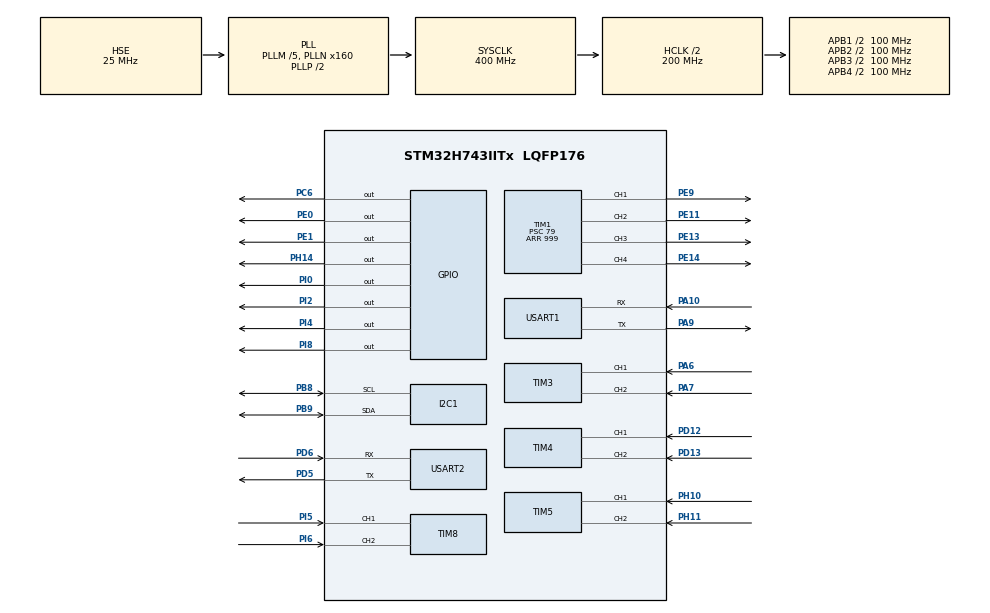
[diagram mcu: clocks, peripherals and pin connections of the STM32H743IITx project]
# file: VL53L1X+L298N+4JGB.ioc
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CORTEX_M7.default_mode_Activation=1
I2C1.Timing=0x10C0ECFF
Mcu.Family=STM32H7
Mcu.Name=STM32H743IITx
Mcu.Package=LQFP176
NVIC.PriorityGroup=NVIC_PRIORITYGROUP_4
NVIC.USART2_IRQn=true\:5\:0\:true\:false\:true\:true\:true\:true
PA0.Signal=S_TIM2_CH1_ETR
PA10.Mode=Asynchronous
PA10.Signal=USART1_RX
PA6.Signal=S_TIM3_CH1
PA7.Signal=S_TIM3_CH2
PA9.Mode=Asynchronous
PA9.Signal=USART1_TX
PB8.Mode=I2C
PB8.Signal=I2C1_SCL
PB9.Mode=I2C
PB9.Signal=I2C1_SDA
PC6.Signal=GPIO_Output
PD12.Signal=S_TIM4_CH1
PD13.Signal=S_TIM4_CH2
PD5.Mode=Asynchronous
PD5.Signal=USART2_TX
PD6.Mode=Asynchronous
PD6.Signal=USART2_RX
PE0.Signal=GPIO_Output
PE1.Signal=GPIO_Output
PE11.Signal=S_TIM1_CH2
PE13.Signal=S_TIM1_CH3
PE14.Signal=S_TIM1_CH4
PE9.Signal=S_TIM1_CH1
PH0-OSC_IN\ (PH0).Mode=HSE-External-Oscillator
PH0-OSC_IN\ (PH0).Signal=RCC_OSC_IN
PH1-OSC_OUT\ (PH1).Mode=HSE-External-Oscillator
PH1-OSC_OUT\ (PH1).Signal=RCC_OSC_OUT
PH10.Signal=S_TIM5_CH1
PH11.Signal=S_TIM5_CH2
PH14.Signal=GPIO_Output
PI0.Signal=GPIO_Output
PI2.Signal=GPIO_Output
PI4.Signal=GPIO_Output
PI5.Signal=S_TIM8_CH1
PI6.Signal=S_TIM8_CH2
PI8.Signal=GPIO_Output
ProjectManager.HeapSize=0x200
ProjectManager.StackSize=0x400
ProjectManager.TargetToolchain=MDK-ARM V5.32
RCC.ADCFreq_Value=50390625
RCC.APB1Freq_Value=100000000
RCC.APB2Freq_Value=100000000
RCC.APB3Freq_Value=100000000
RCC.APB4Freq_Value=100000000
RCC.CortexFreq_Value=400000000
RCC.D1PPRE=RCC_APB3_DIV2
RCC.D2PPRE1=RCC_APB1_DIV2
RCC.D2PPRE2=RCC_APB2_DIV2
RCC.D3PPRE=RCC_APB4_DIV2
RCC.DIVM1=5
RCC.DIVN1=160
RCC.HCLKFreq_Value=200000000
RCC.HPRE=RCC_HCLK_DIV2
RCC.PLLSourceVirtual=RCC_PLLSOURCE_HSE
RCC.SYSCLKFreq_VALUE=400000000
RCC.SYSCLKSource=RCC_SYSCLKSOURCE_PLLCLK
RCC.USBFreq_Value=400000000
SH.S_TIM1_CH1.0=TIM1_CH1,PWM Generation1 CH1
SH.S_TIM1_CH2.0=TIM1_CH2,PWM Generation2 CH2
SH.S_TIM1_CH3.0=TIM1_CH3,PWM Generation3 CH3
SH.S_TIM1_CH4.0=TIM1_CH4,PWM Generation4 CH4
SH.S_TIM2_CH1_ETR.0=TIM2_CH1
SH.S_TIM3_CH1.0=TIM3_CH1,Encoder_Interface
SH.S_TIM3_CH2.0=TIM3_CH2,Encoder_Interface
SH.S_TIM4_CH1.0=TIM4_CH1,Encoder_Interface
SH.S_TIM4_CH2.0=TIM4_CH2,Encoder_Interface
SH.S_TIM5_CH1.0=TIM5_CH1,Encoder_Interface
SH.S_TIM5_CH2.0=TIM5_CH2,Encoder_Interface
SH.S_TIM8_CH1.0=TIM8_CH1,Encoder_Interface
SH.S_TIM8_CH2.0=TIM8_CH2,Encoder_Interface
TIM1.Channel-PWM\ Generation1\ CH1=TIM_CHANNEL_1
TIM1.Channel-PWM\ Generation2\ CH2=TIM_CHANNEL_2
TIM1.Channel-PWM\ Generation3\ CH3=TIM_CHANNEL_3
TIM1.Channel-PWM\ Generation4\ CH4=TIM_CHANNEL_4
TIM1.Period=999
TIM1.Prescaler=79
TIM3.EncoderMode=TIM_ENCODERMODE_TI12
TIM4.EncoderMode=TIM_ENCODERMODE_TI12
TIM5.EncoderMode=TIM_ENCODERMODE_TI12
TIM8.EncoderMode=TIM_ENCODERMODE_TI12
USART1.VirtualMode-Asynchronous=VM_ASYNC
USART2.VirtualMode-Asynchronous=VM_ASYNC
board=custom

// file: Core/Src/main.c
/* USER CODE BEGIN Header */
/**
  ******************************************************************************
  * @file           : main.c
  * @brief          : Four-wheel PI speed control test for STM32H743
  ******************************************************************************
  * @attention
  * Copyright (c) 2025 STMicroelectronics.
  * All rights reserved.
  * This software is licensed under terms that can be found in the LICENSE file
  * in the root directory of this software component.
  * If no LICENSE file comes with this software, it is provided AS-IS.
  ******************************************************************************
  */
/* USER CODE END Header */
/* Includes */
#include "main.h"

/* USER CODE BEGIN Includes */
#include "vl53l1_platform.h"
#include "VL53L1X_api.h"
#include <stdio.h>
#include <string.h>
#include <math.h>

/* Reserved search parameters */
#define VL53L1X_DEV_ADDR  0x52 << 1

#define STATE_SEARCH        0
#define STATE_CENTERING     1
#define STATE_APPROACH      2
#define STATE_LASER_GUIDED  3
#define STATE_SUCCESS       4

#define CENTER_THRESHOLD   20
#define LASER_TARGET_MM    200
#define LASER_MIN_MM       150
#define LASER_START_MM     500
#define FORWARD_SPEED      700
#define TURN_SPEED         600
#define SLOW_SPEED         400
#define CENTER_TIMEOUT     5000
#define APPROACH_TIMEOUT   10000
#define MOTOR_PWM_60       600

/* Reserved vision data */
typedef struct {
    uint32_t timestamp;
    uint8_t presence;
    float dx, dy;
    float radius;
    uint8_t approach_flag;
} VisionData;
/* USER CODE END Includes */

/* USER CODE BEGIN PTD */
/* PID controller */
typedef struct {
    float Kp;
    float Ki;
    float Kd;
    float error_sum;
    float last_error;
    float max_out;
    float integral_limit;
} PID_Controller;
/* USER CODE END PTD */

/* Peripheral handles */
I2C_HandleTypeDef hi2c1;

TIM_HandleTypeDef htim1;
TIM_HandleTypeDef htim3;
TIM_HandleTypeDef htim4;
TIM_HandleTypeDef htim5;
TIM_HandleTypeDef htim8;

UART_HandleTypeDef huart1;
UART_HandleTypeDef huart2;

/* USER CODE BEGIN PV */
/* Reserved vision and state variables */
VisionData currentVision = {0};
uint16_t distance_mm = 0;
uint8_t dataReady = 0;
char uartBuf[128];

uint8_t state = STATE_SEARCH;
uint32_t last_state_change = 0;
uint32_t last_print_time = 0;
uint32_t last_vision_print = 0;
uint32_t last_distance_print = 0;

uint8_t debug_enabled = 1;
uint8_t position_success_received = 0;

/* Reserved binary packet */
#pragma pack(push, 1)
typedef struct {
    uint8_t  header1;
    uint8_t  header2;
    uint8_t  presence;
    int16_t  dx;
    int16_t  dy;
    uint16_t radius;
    uint8_t  checksum;
} VisionPacket;
#pragma pack(pop)

uint8_t rxByte;
uint8_t rxBuffer[10];
uint8_t rxIndex = 0;

VisionPacket current_vision_data = {0};
uint32_t last_vision_update_time = 0;
/* USER CODE END PV */

/* Function declarations */
void SystemClock_Config(void);
static void MPU_Config(void);
static void MX_GPIO_Init(void);
static void MX_I2C1_Init(void);
static void MX_TIM1_Init(void);
static void MX_TIM3_Init(void);
static void MX_TIM4_Init(void);
static void MX_TIM5_Init(void);
static void MX_USART1_UART_Init(void);
static void MX_USART2_UART_Init(void);
static void MX_TIM8_Init(void);

/* USER CODE BEGIN PFP */
void motor_stop(void);
float PID_Calc(PID_Controller *pid, float target, float measure);
void set_chassis_motion(int16_t base_speed, float turn_comp);
void update_state_machine(void);
void print_debug_info(void);
void parseVisionData(uint8_t *data);
/* USER CODE END PFP */

/* USER CODE BEGIN 0 */

/* PWM stop */
void motor_stop(void) {
    __HAL_TIM_SET_COMPARE(&htim1, TIM_CHANNEL_1, 0);
    __HAL_TIM_SET_COMPARE(&htim1, TIM_CHANNEL_2, 0);
    __HAL_TIM_SET_COMPARE(&htim1, TIM_CHANNEL_3, 0);
    __HAL_TIM_SET_COMPARE(&htim1, TIM_CHANNEL_4, 0);
}

/* Reserved yaw controller */
PID_Controller turn_pid = {
    .Kp = 2.5f,
    .Ki = 0.0f,
    .Kd = 1.2f,
    .error_sum = 0.0f,
    .last_error = 0.0f,
    .max_out = 400.0f,
    .integral_limit = 100.0f
};

/* Wheel speed PI parameters */
PID_Controller pid_a = {1.5f, 0.2f, 0.0f, 0.0f, 0.0f, 999.0f, 2000.0f};

PID_Controller pid_b = {1.5f, 0.2f, 0.0f, 0.0f, 0.0f, 999.0f, 2000.0f};

PID_Controller pid_c = {1.8f, 0.3f, 0.0f, 0.0f, 0.0f, 999.0f, 2500.0f};

PID_Controller pid_d = {1.5f, 0.2f, 0.0f, 0.0f, 0.0f, 999.0f, 2000.0f};

/* PID calculation */
float PID_Calc(PID_Controller *pid, float target, float measure) {
    float error = target - measure;
    float p_out, i_out, d_out, total_out;

    p_out = pid->Kp * error;

    pid->error_sum += error;
    if (pid->error_sum > pid->integral_limit) pid->error_sum = pid->integral_limit;
    if (pid->error_sum < -pid->integral_limit) pid->error_sum = -pid->integral_limit;
    i_out = pid->Ki * pid->error_sum;

    d_out = pid->Kd * (error - pid->last_error);
    pid->last_error = error;

    total_out = p_out + i_out + d_out;

    /* PWM deadband compensation */
    float deadband = 600.0f;

    if (target > 0.5f) {
        if (total_out > 0.0f) {
            total_out += deadband;
        }
    } else if (target < -0.5f) {
         if (total_out < 0.0f) {
            total_out -= deadband;
         }
    }

    if (total_out > pid->max_out) total_out = pid->max_out;
    if (total_out < -pid->max_out) total_out = -pid->max_out;

    return total_out;
}

/* Legacy differential PWM control */
void set_chassis_motion(int16_t base_speed, float turn_comp) {
    int16_t pwm_left = base_speed + (int16_t)turn_comp;
    int16_t pwm_right = base_speed - (int16_t)turn_comp;

    if (pwm_left > 999) pwm_left = 999;
    if (pwm_left < -999) pwm_left = -999;
    if (pwm_right > 999) pwm_right = 999;
    if (pwm_right < -999) pwm_right = -999;

    if (pwm_left >= 0) {
        HAL_GPIO_WritePin(GPIOH, GPIO_PIN_14, GPIO_PIN_RESET);
        HAL_GPIO_WritePin(GPIOI, GPIO_PIN_0, GPIO_PIN_SET);
        HAL_GPIO_WritePin(GPIOI, GPIO_PIN_8, GPIO_PIN_RESET);
        HAL_GPIO_WritePin(GPIOC, GPIO_PIN_6, GPIO_PIN_SET);
        __HAL_TIM_SET_COMPARE(&htim1, TIM_CHANNEL_1, pwm_left);
        __HAL_TIM_SET_COMPARE(&htim1, TIM_CHANNEL_4, pwm_left);
    } else {
        HAL_GPIO_WritePin(GPIOH, GPIO_PIN_14, GPIO_PIN_SET);
        HAL_GPIO_WritePin(GPIOI, GPIO_PIN_0, GPIO_PIN_RESET);
        HAL_GPIO_WritePin(GPIOI, GPIO_PIN_8, GPIO_PIN_SET);
        HAL_GPIO_WritePin(GPIOC, GPIO_PIN_6, GPIO_PIN_RESET);
        __HAL_TIM_SET_COMPARE(&htim1, TIM_CHANNEL_1, -pwm_left);
        __HAL_TIM_SET_COMPARE(&htim1, TIM_CHANNEL_4, -pwm_left);
    }

    if (pwm_right >= 0) {
        HAL_GPIO_WritePin(GPIOI, GPIO_PIN_2, GPIO_PIN_RESET);
        HAL_GPIO_WritePin(GPIOI, GPIO_PIN_4, GPIO_PIN_SET);
        HAL_GPIO_WritePin(GPIOE, GPIO_PIN_1, GPIO_PIN_RESET);
        HAL_GPIO_WritePin(GPIOE, GPIO_PIN_0, GPIO_PIN_SET);
        __HAL_TIM_SET_COMPARE(&htim1, TIM_CHANNEL_2, pwm_right);
        __HAL_TIM_SET_COMPARE(&htim1, TIM_CHANNEL_3, pwm_right);
    } else {
        HAL_GPIO_WritePin(GPIOI, GPIO_PIN_2, GPIO_PIN_SET);
        HAL_GPIO_WritePin(GPIOI, GPIO_PIN_4, GPIO_PIN_RESET);
        HAL_GPIO_WritePin(GPIOE, GPIO_PIN_1, GPIO_PIN_SET);
        HAL_GPIO_WritePin(GPIOE, GPIO_PIN_0, GPIO_PIN_RESET);
        __HAL_TIM_SET_COMPARE(&htim1, TIM_CHANNEL_2, -pwm_right);
        __HAL_TIM_SET_COMPARE(&htim1, TIM_CHANNEL_3, -pwm_right);
    }
}

/* Independent wheel PWM control */
void set_4wheel_pwm(int16_t pwm_a, int16_t pwm_b, int16_t pwm_c, int16_t pwm_d) {
    if (pwm_a > 999) pwm_a = 999; if (pwm_a < -999) pwm_a = -999;
    if (pwm_b > 999) pwm_b = 999; if (pwm_b < -999) pwm_b = -999;
    if (pwm_c > 999) pwm_c = 999; if (pwm_c < -999) pwm_c = -999;
    if (pwm_d > 999) pwm_d = 999; if (pwm_d < -999) pwm_d = -999;

    if (pwm_a >= 0) {
        HAL_GPIO_WritePin(GPIOH, GPIO_PIN_14, GPIO_PIN_RESET);
        HAL_GPIO_WritePin(GPIOI, GPIO_PIN_0, GPIO_PIN_SET);
        __HAL_TIM_SET_COMPARE(&htim1, TIM_CHANNEL_1, pwm_a);
    } else {
        HAL_GPIO_WritePin(GPIOH, GPIO_PIN_14, GPIO_PIN_SET);
        HAL_GPIO_WritePin(GPIOI, GPIO_PIN_0, GPIO_PIN_RESET);
        __HAL_TIM_SET_COMPARE(&htim1, TIM_CHANNEL_1, -pwm_a);
    }

    if (pwm_b >= 0) {
        HAL_GPIO_WritePin(GPIOI, GPIO_PIN_2, GPIO_PIN_RESET);
        HAL_GPIO_WritePin(GPIOI, GPIO_PIN_4, GPIO_PIN_SET);
        __HAL_TIM_SET_COMPARE(&htim1, TIM_CHANNEL_2, pwm_b);
    } else {
        HAL_GPIO_WritePin(GPIOI, GPIO_PIN_2, GPIO_PIN_SET);
        HAL_GPIO_WritePin(GPIOI, GPIO_PIN_4, GPIO_PIN_RESET);
        __HAL_TIM_SET_COMPARE(&htim1, TIM_CHANNEL_2, -pwm_b);
    }

    if (pwm_c >= 0) {
        HAL_GPIO_WritePin(GPIOI, GPIO_PIN_8, GPIO_PIN_RESET);
        HAL_GPIO_WritePin(GPIOC, GPIO_PIN_6, GPIO_PIN_SET);
        __HAL_TIM_SET_COMPARE(&htim1, TIM_CHANNEL_4, pwm_c);
    } else {
        HAL_GPIO_WritePin(GPIOI, GPIO_PIN_8, GPIO_PIN_SET);
        HAL_GPIO_WritePin(GPIOC, GPIO_PIN_6, GPIO_PIN_RESET);
        __HAL_TIM_SET_COMPARE(&htim1, TIM_CHANNEL_4, -pwm_c);
    }

    if (pwm_d >= 0) {
        HAL_GPIO_WritePin(GPIOE, GPIO_PIN_1, GPIO_PIN_RESET);
        HAL_GPIO_WritePin(GPIOE, GPIO_PIN_0, GPIO_PIN_SET);
        __HAL_TIM_SET_COMPARE(&htim1, TIM_CHANNEL_3, pwm_d);
    } else {
        HAL_GPIO_WritePin(GPIOE, GPIO_PIN_1, GPIO_PIN_SET);
        HAL_GPIO_WritePin(GPIOE, GPIO_PIN_0, GPIO_PIN_RESET);
        __HAL_TIM_SET_COMPARE(&htim1, TIM_CHANNEL_3, -pwm_d);
    }
}
/* USER CODE END 0 */

/* Main */
int main(void)
{

  MPU_Config();

  HAL_Init();

  SystemClock_Config();

  /* Peripheral initialization */
  MX_GPIO_Init();
  MX_I2C1_Init();
  MX_TIM1_Init();
  MX_TIM3_Init();
  MX_TIM4_Init();
  MX_TIM5_Init();
  MX_USART1_UART_Init();
  MX_USART2_UART_Init();
  MX_TIM8_Init();

  /* USER CODE BEGIN 2 */
  HAL_UART_Transmit(&huart1, (uint8_t*)"System Initialized\r\n", 20, 100);

  HAL_UART_Receive_IT(&huart2, &rxByte, 1);

  /* PWM and encoder startup */
  HAL_TIM_PWM_Start(&htim1, TIM_CHANNEL_1);
  HAL_TIM_PWM_Start(&htim1, TIM_CHANNEL_2);
  HAL_TIM_PWM_Start(&htim1, TIM_CHANNEL_3);
  HAL_TIM_PWM_Start(&htim1, TIM_CHANNEL_4);

  HAL_TIM_Encoder_Start(&htim8, TIM_CHANNEL_ALL);
  HAL_TIM_Encoder_Start(&htim3, TIM_CHANNEL_ALL);
  HAL_TIM_Encoder_Start(&htim4, TIM_CHANNEL_ALL);
  HAL_TIM_Encoder_Start(&htim5, TIM_CHANNEL_ALL);

  state = STATE_SEARCH;
  last_state_change = HAL_GetTick();

  HAL_UART_Transmit(&huart1, (uint8_t*)"Starting tennis ball collection...\r\n", 36, 100);
  /* USER CODE END 2 */

  /* USER CODE BEGIN WHILE */
  while (1)
  {
        HAL_Delay(100);

        /* Encoder sampling */
        int16_t speed5 = (int16_t)__HAL_TIM_GET_COUNTER(&htim5);
        int16_t speed4 = (int16_t)__HAL_TIM_GET_COUNTER(&htim4);
        int16_t speed8 = (int16_t)__HAL_TIM_GET_COUNTER(&htim8);
        int16_t speed3 = (int16_t)__HAL_TIM_GET_COUNTER(&htim3);

        __HAL_TIM_SET_COUNTER(&htim5, 0);
        __HAL_TIM_SET_COUNTER(&htim4, 0);
        __HAL_TIM_SET_COUNTER(&htim8, 0);
        __HAL_TIM_SET_COUNTER(&htim3, 0);

        /* Encoder direction correction */
        float actual_speed_a = - (float)speed5;
        float actual_speed_b =   (float)speed4;
        float actual_speed_c =   (float)speed8;
        float actual_speed_d = - (float)speed3;

        /* Wheel speed control */
        float target_speed = 170.0f;

        int16_t pwm_a = (int16_t)PID_Calc(&pid_a, target_speed, actual_speed_a);
        int16_t pwm_b = (int16_t)PID_Calc(&pid_b, target_speed, actual_speed_b);
        int16_t pwm_c = (int16_t)PID_Calc(&pid_c, target_speed, actual_speed_c);
        int16_t pwm_d = (int16_t)PID_Calc(&pid_d, target_speed, actual_speed_d);

        set_4wheel_pwm(pwm_a, pwm_b, pwm_c, pwm_d);

        /* VOFA+ telemetry */
        char vofaBuf[128];
        int len = snprintf(vofaBuf, sizeof(vofaBuf),
                           "%.1f,%.1f,%.1f,%.1f,%.1f\n",
                           target_speed, actual_speed_a, actual_speed_b, actual_speed_c, actual_speed_d);
        HAL_UART_Transmit(&huart1, (uint8_t*)vofaBuf, len, 100);

    /* USER CODE END WHILE */

  }
}

/* Peripheral configuration */
void SystemClock_Config(void)
{
  RCC_OscInitTypeDef RCC_OscInitStruct = {0};
  RCC_ClkInitTypeDef RCC_ClkInitStruct = {0};

  HAL_PWREx_ConfigSupply(PWR_LDO_SUPPLY);

  __HAL_PWR_VOLTAGESCALING_CONFIG(PWR_REGULATOR_VOLTAGE_SCALE1);

  while(!__HAL_PWR_GET_FLAG(PWR_FLAG_VOSRDY)) {}

  RCC_OscInitStruct.OscillatorType = RCC_OSCILLATORTYPE_HSE;
  RCC_OscInitStruct.HSEState = RCC_HSE_ON;
  RCC_OscInitStruct.PLL.PLLState = RCC_PLL_ON;
  RCC_OscInitStruct.PLL.PLLSource = RCC_PLLSOURCE_HSE;
  RCC_OscInitStruct.PLL.PLLM = 5;
  RCC_OscInitStruct.PLL.PLLN = 160;
  RCC_OscInitStruct.PLL.PLLP = 2;
  RCC_OscInitStruct.PLL.PLLQ = 2;
  RCC_OscInitStruct.PLL.PLLR = 2;
  RCC_OscInitStruct.PLL.PLLRGE = RCC_PLL1VCIRANGE_2;
  RCC_OscInitStruct.PLL.PLLVCOSEL = RCC_PLL1VCOWIDE;
  RCC_OscInitStruct.PLL.PLLFRACN = 0;
  if (HAL_RCC_OscConfig(&RCC_OscInitStruct) != HAL_OK)
  {
    Error_Handler();
  }

  RCC_ClkInitStruct.ClockType = RCC_CLOCKTYPE_HCLK|RCC_CLOCKTYPE_SYSCLK
                              |RCC_CLOCKTYPE_PCLK1|RCC_CLOCKTYPE_PCLK2
                              |RCC_CLOCKTYPE_D3PCLK1|RCC_CLOCKTYPE_D1PCLK1;
  RCC_ClkInitStruct.SYSCLKSource = RCC_SYSCLKSOURCE_PLLCLK;
  RCC_ClkInitStruct.SYSCLKDivider = RCC_SYSCLK_DIV1;
  RCC_ClkInitStruct.AHBCLKDivider = RCC_HCLK_DIV2;
  RCC_ClkInitStruct.APB3CLKDivider = RCC_APB3_DIV2;
  RCC_ClkInitStruct.APB1CLKDivider = RCC_APB1_DIV2;
  RCC_ClkInitStruct.APB2CLKDivider = RCC_APB2_DIV2;
  RCC_ClkInitStruct.APB4CLKDivider = RCC_APB4_DIV2;

  if (HAL_RCC_ClockConfig(&RCC_ClkInitStruct, FLASH_LATENCY_2) != HAL_OK)
  {
    Error_Handler();
  }
}

static void MX_I2C1_Init(void)
{

  hi2c1.Instance = I2C1;
  hi2c1.Init.Timing = 0x10C0ECFF;
  hi2c1.Init.OwnAddress1 = 0;
  hi2c1.Init.AddressingMode = I2C_ADDRESSINGMODE_7BIT;
  hi2c1.Init.DualAddressMode = I2C_DUALADDRESS_DISABLE;
  hi2c1.Init.OwnAddress2 = 0;
  hi2c1.Init.OwnAddress2Masks = I2C_OA2_NOMASK;
  hi2c1.Init.GeneralCallMode = I2C_GENERALCALL_DISABLE;
  hi2c1.Init.NoStretchMode = I2C_NOSTRETCH_DISABLE;
  if (HAL_I2C_Init(&hi2c1) != HAL_OK)
  {
    Error_Handler();
  }

  if (HAL_I2CEx_ConfigAnalogFilter(&hi2c1, I2C_ANALOGFILTER_ENABLE) != HAL_OK)
  {
    Error_Handler();
  }

  if (HAL_I2CEx_ConfigDigitalFilter(&hi2c1, 0) != HAL_OK)
  {
    Error_Handler();
  }

}

static void MX_TIM1_Init(void)
{

  TIM_MasterConfigTypeDef sMasterConfig = {0};
  TIM_OC_InitTypeDef sConfigOC = {0};
  TIM_BreakDeadTimeConfigTypeDef sBreakDeadTimeConfig = {0};

  htim1.Instance = TIM1;
  htim1.Init.Prescaler = 79;
  htim1.Init.CounterMode = TIM_COUNTERMODE_UP;
  htim1.Init.Period = 999;
  htim1.Init.ClockDivision = TIM_CLOCKDIVISION_DIV1;
  htim1.Init.RepetitionCounter = 0;
  htim1.Init.AutoReloadPreload = TIM_AUTORELOAD_PRELOAD_DISABLE;
  if (HAL_TIM_PWM_Init(&htim1) != HAL_OK)
  {
    Error_Handler();
  }
  sMasterConfig.MasterOutputTrigger = TIM_TRGO_RESET;
  sMasterConfig.MasterOutputTrigger2 = TIM_TRGO2_RESET;
  sMasterConfig.MasterSlaveMode = TIM_MASTERSLAVEMODE_DISABLE;
  if (HAL_TIMEx_MasterConfigSynchronization(&htim1, &sMasterConfig) != HAL_OK)
  {
    Error_Handler();
  }
  sConfigOC.OCMode = TIM_OCMODE_PWM1;
  sConfigOC.Pulse = 0;
  sConfigOC.OCPolarity = TIM_OCPOLARITY_HIGH;
  sConfigOC.OCNPolarity = TIM_OCNPOLARITY_HIGH;
  sConfigOC.OCFastMode = TIM_OCFAST_DISABLE;
  sConfigOC.OCIdleState = TIM_OCIDLESTATE_RESET;
  sConfigOC.OCNIdleState = TIM_OCNIDLESTATE_RESET;
  if (HAL_TIM_PWM_ConfigChannel(&htim1, &sConfigOC, TIM_CHANNEL_1) != HAL_OK)
  {
    Error_Handler();
  }
  if (HAL_TIM_PWM_ConfigChannel(&htim1, &sConfigOC, TIM_CHANNEL_2) != HAL_OK)
  {
    Error_Handler();
  }
  if (HAL_TIM_PWM_ConfigChannel(&htim1, &sConfigOC, TIM_CHANNEL_3) != HAL_OK)
  {
    Error_Handler();
  }
  if (HAL_TIM_PWM_ConfigChannel(&htim1, &sConfigOC, TIM_CHANNEL_4) != HAL_OK)
  {
    Error_Handler();
  }
  sBreakDeadTimeConfig.OffStateRunMode = TIM_OSSR_DISABLE;
  sBreakDeadTimeConfig.OffStateIDLEMode = TIM_OSSI_DISABLE;
  sBreakDeadTimeConfig.LockLevel = TIM_LOCKLEVEL_OFF;
  sBreakDeadTimeConfig.DeadTime = 0;
  sBreakDeadTimeConfig.BreakState = TIM_BREAK_DISABLE;
  sBreakDeadTimeConfig.BreakPolarity = TIM_BREAKPOLARITY_HIGH;
  sBreakDeadTimeConfig.BreakFilter = 0;
  sBreakDeadTimeConfig.Break2State = TIM_BREAK2_DISABLE;
  sBreakDeadTimeConfig.Break2Polarity = TIM_BREAK2POLARITY_HIGH;
  sBreakDeadTimeConfig.Break2Filter = 0;
  sBreakDeadTimeConfig.AutomaticOutput = TIM_AUTOMATICOUTPUT_DISABLE;
  if (HAL_TIMEx_ConfigBreakDeadTime(&htim1, &sBreakDeadTimeConfig) != HAL_OK)
  {
    Error_Handler();
  }
  HAL_TIM_MspPostInit(&htim1);

}

static void MX_TIM3_Init(void)
{

  TIM_Encoder_InitTypeDef sConfig = {0};
  TIM_MasterConfigTypeDef sMasterConfig = {0};

  htim3.Instance = TIM3;
  htim3.Init.Prescaler = 0;
  htim3.Init.CounterMode = TIM_COUNTERMODE_UP;
  htim3.Init.Period = 65535;
  htim3.Init.ClockDivision = TIM_CLOCKDIVISION_DIV1;
  htim3.Init.AutoReloadPreload = TIM_AUTORELOAD_PRELOAD_DISABLE;
  sConfig.EncoderMode = TIM_ENCODERMODE_TI12;
  sConfig.IC1Polarity = TIM_ICPOLARITY_RISING;
  sConfig.IC1Selection = TIM_ICSELECTION_DIRECTTI;
  sConfig.IC1Prescaler = TIM_ICPSC_DIV1;
  sConfig.IC1Filter = 0;
  sConfig.IC2Polarity = TIM_ICPOLARITY_RISING;
  sConfig.IC2Selection = TIM_ICSELECTION_DIRECTTI;
  sConfig.IC2Prescaler = TIM_ICPSC_DIV1;
  sConfig.IC2Filter = 0;
  if (HAL_TIM_Encoder_Init(&htim3, &sConfig) != HAL_OK)
  {
    Error_Handler();
  }
  sMasterConfig.MasterOutputTrigger = TIM_TRGO_RESET;
  sMasterConfig.MasterSlaveMode = TIM_MASTERSLAVEMODE_DISABLE;
  if (HAL_TIMEx_MasterConfigSynchronization(&htim3, &sMasterConfig) != HAL_OK)
  {
    Error_Handler();
  }

}

static void MX_TIM4_Init(void)
{

  TIM_Encoder_InitTypeDef sConfig = {0};
  TIM_MasterConfigTypeDef sMasterConfig = {0};

  htim4.Instance = TIM4;
  htim4.Init.Prescaler = 0;
  htim4.Init.CounterMode = TIM_COUNTERMODE_UP;
  htim4.Init.Period = 65535;
  htim4.Init.ClockDivision = TIM_CLOCKDIVISION_DIV1;
  htim4.Init.AutoReloadPreload = TIM_AUTORELOAD_PRELOAD_DISABLE;
  sConfig.EncoderMode = TIM_ENCODERMODE_TI12;
  sConfig.IC1Polarity = TIM_ICPOLARITY_RISING;
  sConfig.IC1Selection = TIM_ICSELECTION_DIRECTTI;
  sConfig.IC1Prescaler = TIM_ICPSC_DIV1;
  sConfig.IC1Filter = 0;
  sConfig.IC2Polarity = TIM_ICPOLARITY_RISING;
  sConfig.IC2Selection = TIM_ICSELECTION_DIRECTTI;
  sConfig.IC2Prescaler = TIM_ICPSC_DIV1;
  sConfig.IC2Filter = 0;
  if (HAL_TIM_Encoder_Init(&htim4, &sConfig) != HAL_OK)
  {
    Error_Handler();
  }
  sMasterConfig.MasterOutputTrigger = TIM_TRGO_RESET;
  sMasterConfig.MasterSlaveMode = TIM_MASTERSLAVEMODE_DISABLE;
  if (HAL_TIMEx_MasterConfigSynchronization(&htim4, &sMasterConfig) != HAL_OK)
  {
    Error_Handler();
  }

}

static void MX_TIM5_Init(void)
{

  TIM_Encoder_InitTypeDef sConfig = {0};
  TIM_MasterConfigTypeDef sMasterConfig = {0};

  htim5.Instance = TIM5;
  htim5.Init.Prescaler = 0;
  htim5.Init.CounterMode = TIM_COUNTERMODE_UP;
  htim5.Init.Period = 4294967295;
  htim5.Init.ClockDivision = TIM_CLOCKDIVISION_DIV1;
  htim5.Init.AutoReloadPreload = TIM_AUTORELOAD_PRELOAD_DISABLE;
  sConfig.EncoderMode = TIM_ENCODERMODE_TI12;
  sConfig.IC1Polarity = TIM_ICPOLARITY_RISING;
  sConfig.IC1Selection = TIM_ICSELECTION_DIRECTTI;
  sConfig.IC1Prescaler = TIM_ICPSC_DIV1;
  sConfig.IC1Filter = 0;
  sConfig.IC2Polarity = TIM_ICPOLARITY_RISING;
  sConfig.IC2Selection = TIM_ICSELECTION_DIRECTTI;
  sConfig.IC2Prescaler = TIM_ICPSC_DIV1;
  sConfig.IC2Filter = 0;
  if (HAL_TIM_Encoder_Init(&htim5, &sConfig) != HAL_OK)
  {
    Error_Handler();
  }
  sMasterConfig.MasterOutputTrigger = TIM_TRGO_RESET;
  sMasterConfig.MasterSlaveMode = TIM_MASTERSLAVEMODE_DISABLE;
  if (HAL_TIMEx_MasterConfigSynchronization(&htim5, &sMasterConfig) != HAL_OK)
  {
    Error_Handler();
  }

}

static void MX_TIM8_Init(void)
{

  TIM_Encoder_InitTypeDef sConfig = {0};
  TIM_MasterConfigTypeDef sMasterConfig = {0};

  htim8.Instance = TIM8;
  htim8.Init.Prescaler = 0;
  htim8.Init.CounterMode = TIM_COUNTERMODE_UP;
  htim8.Init.Period = 65535;
  htim8.Init.ClockDivision = TIM_CLOCKDIVISION_DIV1;
  htim8.Init.RepetitionCounter = 0;
  htim8.Init.AutoReloadPreload = TIM_AUTORELOAD_PRELOAD_DISABLE;
  sConfig.EncoderMode = TIM_ENCODERMODE_TI12;
  sConfig.IC1Polarity = TIM_ICPOLARITY_RISING;
  sConfig.IC1Selection = TIM_ICSELECTION_DIRECTTI;
  sConfig.IC1Prescaler = TIM_ICPSC_DIV1;
  sConfig.IC1Filter = 0;
  sConfig.IC2Polarity = TIM_ICPOLARITY_RISING;
  sConfig.IC2Selection = TIM_ICSELECTION_DIRECTTI;
  sConfig.IC2Prescaler = TIM_ICPSC_DIV1;
  sConfig.IC2Filter = 0;
  if (HAL_TIM_Encoder_Init(&htim8, &sConfig) != HAL_OK)
  {
    Error_Handler();
  }
  sMasterConfig.MasterOutputTrigger = TIM_TRGO_RESET;
  sMasterConfig.MasterOutputTrigger2 = TIM_TRGO2_RESET;
  sMasterConfig.MasterSlaveMode = TIM_MASTERSLAVEMODE_DISABLE;
  if (HAL_TIMEx_MasterConfigSynchronization(&htim8, &sMasterConfig) != HAL_OK)
  {
    Error_Handler();
  }

}

static void MX_USART1_UART_Init(void)
{

  huart1.Instance = USART1;
  huart1.Init.BaudRate = 115200;
  huart1.Init.WordLength = UART_WORDLENGTH_8B;
  huart1.Init.StopBits = UART_STOPBITS_1;
  huart1.Init.Parity = UART_PARITY_NONE;
  huart1.Init.Mode = UART_MODE_TX_RX;
  huart1.Init.HwFlowCtl = UART_HWCONTROL_NONE;
  huart1.Init.OverSampling = UART_OVERSAMPLING_16;
  huart1.Init.OneBitSampling = UART_ONE_BIT_SAMPLE_DISABLE;
  huart1.Init.ClockPrescaler = UART_PRESCALER_DIV1;
  huart1.AdvancedInit.AdvFeatureInit = UART_ADVFEATURE_NO_INIT;
  if (HAL_UART_Init(&huart1) != HAL_OK)
  {
    Error_Handler();
  }
  if (HAL_UARTEx_SetTxFifoThreshold(&huart1, UART_TXFIFO_THRESHOLD_1_8) != HAL_OK)
  {
    Error_Handler();
  }
  if (HAL_UARTEx_SetRxFifoThreshold(&huart1, UART_RXFIFO_THRESHOLD_1_8) != HAL_OK)
  {
    Error_Handler();
  }
  if (HAL_UARTEx_DisableFifoMode(&huart1) != HAL_OK)
  {
    Error_Handler();
  }

}

static void MX_USART2_UART_Init(void)
{

  huart2.Instance = USART2;
  huart2.Init.BaudRate = 115200;
  huart2.Init.WordLength = UART_WORDLENGTH_8B;
  huart2.Init.StopBits = UART_STOPBITS_1;
  huart2.Init.Parity = UART_PARITY_NONE;
  huart2.Init.Mode = UART_MODE_TX_RX;
  huart2.Init.HwFlowCtl = UART_HWCONTROL_NONE;
  huart2.Init.OverSampling = UART_OVERSAMPLING_16;
  huart2.Init.OneBitSampling = UART_ONE_BIT_SAMPLE_DISABLE;
  huart2.Init.ClockPrescaler = UART_PRESCALER_DIV1;
  huart2.AdvancedInit.AdvFeatureInit = UART_ADVFEATURE_NO_INIT;
  if (HAL_UART_Init(&huart2) != HAL_OK)
  {
    Error_Handler();
  }
  if (HAL_UARTEx_SetTxFifoThreshold(&huart2, UART_TXFIFO_THRESHOLD_1_8) != HAL_OK)
  {
    Error_Handler();
  }
  if (HAL_UARTEx_SetRxFifoThreshold(&huart2, UART_RXFIFO_THRESHOLD_1_8) != HAL_OK)
  {
    Error_Handler();
  }
  if (HAL_UARTEx_DisableFifoMode(&huart2) != HAL_OK)
  {
    Error_Handler();
  }

}

static void MX_GPIO_Init(void)
{
  GPIO_InitTypeDef GPIO_InitStruct = {0};

  __HAL_RCC_GPIOI_CLK_ENABLE();
  __HAL_RCC_GPIOH_CLK_ENABLE();
  __HAL_RCC_GPIOA_CLK_ENABLE();
  __HAL_RCC_GPIOE_CLK_ENABLE();
  __HAL_RCC_GPIOD_CLK_ENABLE();
  __HAL_RCC_GPIOC_CLK_ENABLE();
  __HAL_RCC_GPIOB_CLK_ENABLE();

  HAL_GPIO_WritePin(GPIOI, GPIO_PIN_8|GPIO_PIN_0|GPIO_PIN_2|GPIO_PIN_4, GPIO_PIN_RESET);

  HAL_GPIO_WritePin(GPIOC, GPIO_PIN_6, GPIO_PIN_RESET);

  HAL_GPIO_WritePin(GPIOH, GPIO_PIN_14, GPIO_PIN_RESET);

  HAL_GPIO_WritePin(GPIOE, GPIO_PIN_0|GPIO_PIN_1, GPIO_PIN_RESET);

  GPIO_InitStruct.Pin = GPIO_PIN_8|GPIO_PIN_0|GPIO_PIN_2|GPIO_PIN_4;
  GPIO_InitStruct.Mode = GPIO_MODE_OUTPUT_PP;
  GPIO_InitStruct.Pull = GPIO_NOPULL;
  GPIO_InitStruct.Speed = GPIO_SPEED_FREQ_LOW;
  HAL_GPIO_Init(GPIOI, &GPIO_InitStruct);

  GPIO_InitStruct.Pin = GPIO_PIN_0;
  GPIO_InitStruct.Mode = GPIO_MODE_AF_PP;
  GPIO_InitStruct.Pull = GPIO_NOPULL;
  GPIO_InitStruct.Speed = GPIO_SPEED_FREQ_LOW;
  GPIO_InitStruct.Alternate = GPIO_AF1_TIM2;
  HAL_GPIO_Init(GPIOA, &GPIO_InitStruct);

  GPIO_InitStruct.Pin = GPIO_PIN_6;
  GPIO_InitStruct.Mode = GPIO_MODE_OUTPUT_PP;
  GPIO_InitStruct.Pull = GPIO_NOPULL;
  GPIO_InitStruct.Speed = GPIO_SPEED_FREQ_LOW;
  HAL_GPIO_Init(GPIOC, &GPIO_InitStruct);

  GPIO_InitStruct.Pin = GPIO_PIN_14;
  GPIO_InitStruct.Mode = GPIO_MODE_OUTPUT_PP;
  GPIO_InitStruct.Pull = GPIO_NOPULL;
  GPIO_InitStruct.Speed = GPIO_SPEED_FREQ_LOW;
  HAL_GPIO_Init(GPIOH, &GPIO_InitStruct);

  GPIO_InitStruct.Pin = GPIO_PIN_0|GPIO_PIN_1;
  GPIO_InitStruct.Mode = GPIO_MODE_OUTPUT_PP;
  GPIO_InitStruct.Pull = GPIO_NOPULL;
  GPIO_InitStruct.Speed = GPIO_SPEED_FREQ_LOW;
  HAL_GPIO_Init(GPIOE, &GPIO_InitStruct);

}

void MPU_Config(void)
{
  MPU_Region_InitTypeDef MPU_InitStruct = {0};

  HAL_MPU_Disable();

  MPU_InitStruct.Enable = MPU_REGION_ENABLE;
  MPU_InitStruct.Number = MPU_REGION_NUMBER0;
  MPU_InitStruct.BaseAddress = 0x0;
  MPU_InitStruct.Size = MPU_REGION_SIZE_4GB;
  MPU_InitStruct.SubRegionDisable = 0x87;
  MPU_InitStruct.TypeExtField = MPU_TEX_LEVEL0;
  MPU_InitStruct.AccessPermission = MPU_REGION_NO_ACCESS;
  MPU_InitStruct.DisableExec = MPU_INSTRUCTION_ACCESS_DISABLE;
  MPU_InitStruct.IsShareable = MPU_ACCESS_SHAREABLE;
  MPU_InitStruct.IsCacheable = MPU_ACCESS_NOT_CACHEABLE;
  MPU_InitStruct.IsBufferable = MPU_ACCESS_NOT_BUFFERABLE;

  HAL_MPU_ConfigRegion(&MPU_InitStruct);
  HAL_MPU_Enable(MPU_PRIVILEGED_DEFAULT);

}

void Error_Handler(void)
{
  __disable_irq();
  while (1)
  {
  }
}
